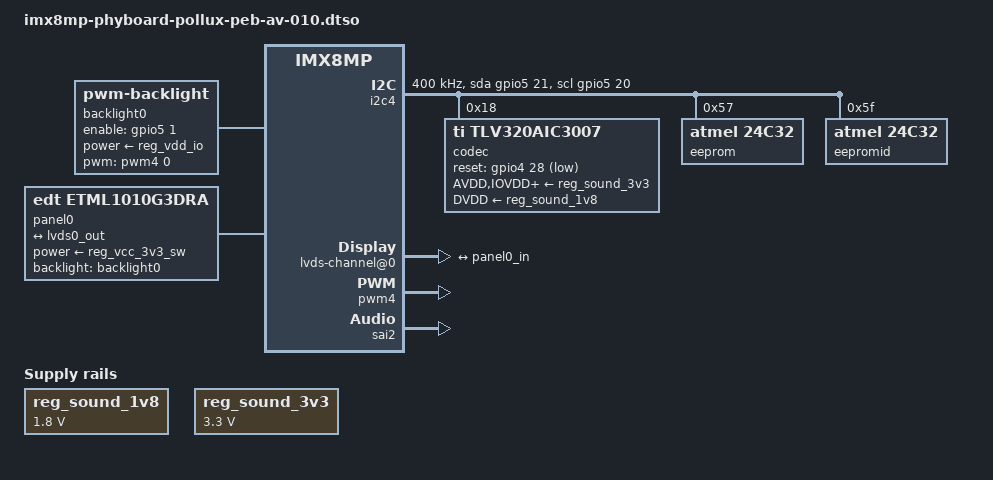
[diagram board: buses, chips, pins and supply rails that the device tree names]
// SPDX-License-Identifier: GPL-2.0
/*
 * Copyright (C) 2020 PHYTEC Messtechnik GmbH
 * Author: Teresa Remmet <t.remmet@phytec.de>
 *         Cem Tenruh <c.tenruh@phytec.de>
 *
 */

/dts-v1/;
/plugin/;

#include <dt-bindings/clock/imx8mp-clock.h>
#include <dt-bindings/gpio/gpio.h>
#include "../imx8mp-pinfunc.h"

/ {
	compatible = "phytec,imx8mp-phyboard-pollux-rdk";

	fragment@6 {
		target-path= "/";
		__overlay__ {
			backlight0: backlight0 {
				compatible = "pwm-backlight";
				brightness-levels= <0 4 8 16 32 64 128 255>;
				default-brightness-level = <6>;
				enable-gpios = <&gpio5 1 GPIO_ACTIVE_HIGH>;
				pinctrl-names = "default";
				pinctrl-0 = <&pinctrl_lvds0>;
				power-supply = <&reg_vdd_io>;
				pwms = <&pwm4 0 50000 0>;
			};

			panel0: panel0 {
				compatible = "edt,etml1010g3dra";
				backlight = <&backlight0>;
				power-supply = <&reg_vcc_3v3_sw>;

				port {
					panel0_in: endpoint {
						remote-endpoint = <&lvds0_out>;
					};
				};
			};

			reg_sound_1v8: regulator-1v8 {
				compatible = "regulator-fixed";
				regulator-name = "VCC-1V8-Audio";
				regulator-min-microvolt = <1800000>;
				regulator-max-microvolt = <1800000>;
			};

			reg_sound_3v3: regulator-3v3 {
				compatible = "regulator-fixed";
				regulator-name = "VCC-3V3-Audio";
				regulator-min-microvolt = <3300000>;
				regulator-max-microvolt = <3300000>;
			};

			sound-peb-av-10 {
				compatible = "simple-audio-card";
				simple-audio-card,bitclock-master = <&dailink_master>;
				simple-audio-card,format = "i2s";
				simple-audio-card,frame-master = <&dailink_master>;
				simple-audio-card,mclk-fs = <32>;
				simple-audio-card,name = "snd-peb-av-10";
				simple-audio-card,routing =
					"Speaker", "SPOP",
					"Speaker", "SPOM",
					"Headphone Jack", "HPLOUT",
					"Headphone Jack", "HPROUT",
					"LINE1L", "Line In",
					"LINE1R", "Line In",
					"MIC3R", "Microphone Jack",
					"Microphone Jack", "Mic Bias";
				simple-audio-card,widgets =
					"Line", "Line In",
					"Speaker", "Speaker",
					"Microphone", "Microphone Jack",
					"Headphone", "Headphone Jack";

				dailink_master: simple-audio-card,cpu {
					sound-dai = <&sai2>;
				};

				simple-audio-card,codec {
					sound-dai = <&codec>;
				};
			};
		};
	};
};

&i2c4 {
	#address-cells = <1>;
	#size-cells = <0>;

	clock-frequency = <400000>;
	pinctrl-names = "default","gpio";
	pinctrl-0 = <&pinctrl_i2c4>;
	pinctrl-1 = <&pinctrl_i2c4_gpio>;
	scl-gpios = <&gpio5 20 (GPIO_ACTIVE_HIGH | GPIO_OPEN_DRAIN)>;
	sda-gpios = <&gpio5 21 (GPIO_ACTIVE_HIGH | GPIO_OPEN_DRAIN)>;
	status = "okay";

	codec: codec@18 {
		compatible = "ti,tlv320aic3007";
		ai3x-gpio-func = <0xd 0x0>;
		ai3x-micbias-vg = <2>;
		AVDD-supply = <&reg_sound_3v3>;
		IOVDD-supply = <&reg_sound_3v3>;
		DRVDD-supply = <&reg_sound_3v3>;
		DVDD-supply = <&reg_sound_1v8>;
		pinctrl-names = "default";
		pinctrl-0 = <&pinctrl_tlv320>;
		reg = <0x18>;
		reset-gpios = <&gpio4 28 GPIO_ACTIVE_LOW>;
		#sound-dai-cells = <0>;
	};

	eeprom@57 {
		compatible = "atmel,24c32";
		pagesize = <32>;
		reg = <0x57>;
	};

	eepromid@5f {
		compatible = "atmel,24c32";
		pagesize = <32>;
		reg = <0x5f>;
		size = <32>;
	};
};

&ldb {
	lvds-channel@0 {
		#address-cells = <1>;
		#size-cells = <0>;

		fsl,data-mapping = "spwg";
		fsl,data-width = <24>;
		status = "okay";

		port@1 {
			reg = <1>;

			lvds0_out: endpoint {
				remote-endpoint = <&panel0_in>;
			};
		};
	};

	lvds-channel@1 {
		status = "disabled";
	};
};

&pwm4 {
	pinctrl-names = "default";
	pinctrl-0 = <&pinctrl_pwm4>;
	status = "okay";
};

&sai2 {
	assigned-clocks = <&clk IMX8MP_CLK_SAI2>;
	assigned-clock-parents = <&clk IMX8MP_AUDIO_PLL1_OUT>;
	assigned-clock-rates = <12288000>;
	clocks = <&audio_blk_ctrl IMX8MP_CLK_AUDIO_BLK_CTRL_SAI2_IPG>,
		 <&clk IMX8MP_CLK_DUMMY>,
		 <&audio_blk_ctrl IMX8MP_CLK_AUDIO_BLK_CTRL_SAI2_MCLK1>,
		 <&clk IMX8MP_CLK_DUMMY>,
		 <&clk IMX8MP_CLK_DUMMY>,
		 <&clk IMX8MP_AUDIO_PLL1_OUT>,
		 <&clk IMX8MP_AUDIO_PLL2_OUT>;
	clock-names = "bus", "mclk0", "mclk1", "mclk2", "mclk3", "pll8k", "pll11k";
	fsl,sai-synchronous-rx;
	pinctrl-names = "default";
	pinctrl-0 = <&pinctrl_sai2>;
	status = "okay";
	#sound-dai-cells = <0>;
};

&sdma2 {
	status = "okay";
};

&iomuxc {

	pinctrl_i2c4: i2c4grp {
		fsl,pins = <
			MX8MP_IOMUXC_I2C4_SCL__I2C4_SCL			0x400001c3
			MX8MP_IOMUXC_I2C4_SDA__I2C4_SDA			0x400001c3
		>;
	};

	pinctrl_i2c4_gpio: i2c4gpiogrp {
		fsl,pins = <
			MX8MP_IOMUXC_I2C4_SCL__GPIO5_IO20		0x1c3
			MX8MP_IOMUXC_I2C4_SDA__GPIO5_IO21		0x1c3
		>;
	};

	pinctrl_pwm4: pwm4grp {
		fsl,pins = <
			MX8MP_IOMUXC_SAI3_MCLK__PWM4_OUT		0x12
		>;
	};

	pinctrl_lvds0: lvds0grp {
		fsl,pins = <
			MX8MP_IOMUXC_SAI3_TXD__GPIO5_IO01		0x12
		>;
	};

	pinctrl_sai2: sai2grp {
		fsl,pins = <
			MX8MP_IOMUXC_SAI2_MCLK__AUDIOMIX_SAI2_MCLK	0xd6
			MX8MP_IOMUXC_SAI2_RXD0__AUDIOMIX_SAI2_RX_DATA00	0xd6
			MX8MP_IOMUXC_SAI2_RXFS__AUDIOMIX_SAI2_RX_SYNC	0xd6
			MX8MP_IOMUXC_SAI2_TXC__AUDIOMIX_SAI2_TX_BCLK    0xd6
			MX8MP_IOMUXC_SAI2_TXD0__AUDIOMIX_SAI2_TX_DATA00	0xd6
		>;
	};

	pinctrl_tlv320: tlv320grp {
		fsl,pins = <
			MX8MP_IOMUXC_SAI2_RXC__GPIO4_IO22		0x16
			MX8MP_IOMUXC_SAI3_RXFS__GPIO4_IO28		0x16
		>;
	};
};
